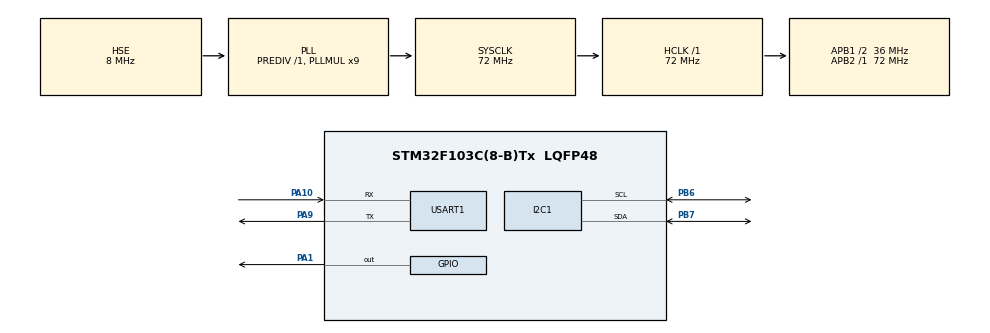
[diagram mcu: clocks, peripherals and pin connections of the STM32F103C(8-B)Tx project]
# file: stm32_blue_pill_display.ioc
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FREERTOS.Tasks01=defaultTask,24,512,StartDefaultTask,Default,NULL,Dynamic,NULL,NULL;LED_Tsk,8,512,StartTask02,Default,NULL,Dynamic,NULL,NULL
FREERTOS.configMINIMAL_STACK_SIZE=512
FREERTOS.configUSE_NEWLIB_REENTRANT=1
Mcu.Family=STM32F1
Mcu.Name=STM32F103C(8-B)Tx
Mcu.Package=LQFP48
NVIC.PriorityGroup=NVIC_PRIORITYGROUP_4
NVIC.TIM1_UP_IRQn=true\:15\:0\:false\:false\:true\:false\:false\:true\:true
NVIC.TimeBase=TIM1_UP_IRQn
NVIC.TimeBaseIP=TIM1
NVIC.USART1_IRQn=true\:5\:0\:false\:false\:true\:true\:true\:true\:true
PA1.GPIO_ModeDefaultOutputPP=GPIO_MODE_OUTPUT_OD
PA1.GPIO_PuPd=GPIO_NOPULL
PA1.Signal=GPIO_Output
PA10.Mode=Asynchronous
PA10.Signal=USART1_RX
PA13.Mode=Serial_Wire
PA13.Signal=SYS_JTMS-SWDIO
PA14.Mode=Serial_Wire
PA14.Signal=SYS_JTCK-SWCLK
PA9.Mode=Asynchronous
PA9.Signal=USART1_TX
PB6.Mode=I2C
PB6.Signal=I2C1_SCL
PB7.Mode=I2C
PB7.Signal=I2C1_SDA
PD0-OSC_IN.Mode=HSE-External-Oscillator
PD0-OSC_IN.Signal=RCC_OSC_IN
PD1-OSC_OUT.Mode=HSE-External-Oscillator
PD1-OSC_OUT.Signal=RCC_OSC_OUT
ProjectManager.HeapSize=0x200
ProjectManager.StackSize=0x400
ProjectManager.TargetToolchain=STM32CubeIDE
RCC.AHBFreq_Value=72000000
RCC.APB1CLKDivider=RCC_HCLK_DIV2
RCC.APB1Freq_Value=36000000
RCC.APB1TimFreq_Value=72000000
RCC.APB2Freq_Value=72000000
RCC.APB2TimFreq_Value=72000000
RCC.HCLKFreq_Value=72000000
RCC.PLLMUL=RCC_PLL_MUL9
RCC.PLLSourceVirtual=RCC_PLLSOURCE_HSE
RCC.SYSCLKFreq_VALUE=72000000
RCC.SYSCLKSource=RCC_SYSCLKSOURCE_PLLCLK
RCC.USBFreq_Value=72000000
TIM2.Prescaler=71
USART1.VirtualMode=VM_ASYNC
VP_FREERTOS_VS_CMSIS_V2.Mode=CMSIS_V2
VP_SYS_VS_tim1.Mode=TIM1
VP_TIM2_VS_ClockSourceINT.Mode=Internal
board=custom

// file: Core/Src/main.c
/* USER CODE BEGIN Header */
/**
  ******************************************************************************
  * @file           : main.c
  * @brief          : Main program body
  ******************************************************************************
  * @attention
  *
  * Copyright (c) 2026 STMicroelectronics.
  * All rights reserved.
  *
  * This software is licensed under terms that can be found in the LICENSE file
  * in the root directory of this software component.
  * If no LICENSE file comes with this software, it is provided AS-IS.
  *
  ******************************************************************************
  */
/* USER CODE END Header */
#include "main.h"
#include "cmsis_os.h"
#include "i2c.h"
#include "tim.h"
#include "usart.h"
#include "gpio.h"

/* USER CODE BEGIN Includes */
#include <stdio.h>
#include "i2c.h"
#include "ssd1306.h"

/* USER CODE END Includes */

void SystemClock_Config(void);
void MX_FREERTOS_Init(void);

int main(void)
{

  /* MCU Configuration--------------------------------------------------------*/

  /* Reset of all peripherals, Initializes the Flash interface and the Systick. */
  HAL_Init();

  /* Configure the system clock */
  SystemClock_Config();

  /* Initialize all configured peripherals */
  MX_GPIO_Init();
  MX_USART1_UART_Init();
  MX_I2C1_Init();
  MX_TIM2_Init();
  /* USER CODE BEGIN 2 */
  ssd1306_Init(&hi2c1);
  ssd1306_Fill(Black);
  HAL_TIM_Base_Start(&htim2);
//  ssd1306_SetCursor(10,10);
//  ssd1306_WriteString("Hello Vinit!", Font_7x10, White);
//  ssd1306_UpdateScreen(&hi2c1);
  /* USER CODE END 2 */

  /* Init scheduler */
  osKernelInitialize();  /* Call init function for freertos objects (in cmsis_os2.c) */
  MX_FREERTOS_Init();

  /* Start scheduler */
  osKernelStart();

  /* We should never get here as control is now taken by the scheduler */

  /* Infinite loop */
  while (1)
  {

  }
}

void SystemClock_Config(void)
{
  RCC_OscInitTypeDef RCC_OscInitStruct = {0};
  RCC_ClkInitTypeDef RCC_ClkInitStruct = {0};

  /** Initializes the RCC Oscillators according to the specified parameters
  * in the RCC_OscInitTypeDef structure.
  */
  RCC_OscInitStruct.OscillatorType = RCC_OSCILLATORTYPE_HSE;
  RCC_OscInitStruct.HSEState = RCC_HSE_ON;
  RCC_OscInitStruct.HSEPredivValue = RCC_HSE_PREDIV_DIV1;
  RCC_OscInitStruct.HSIState = RCC_HSI_ON;
  RCC_OscInitStruct.PLL.PLLState = RCC_PLL_ON;
  RCC_OscInitStruct.PLL.PLLSource = RCC_PLLSOURCE_HSE;
  RCC_OscInitStruct.PLL.PLLMUL = RCC_PLL_MUL9;
  if (HAL_RCC_OscConfig(&RCC_OscInitStruct) != HAL_OK)
  {
    Error_Handler();
  }

  /** Initializes the CPU, AHB and APB buses clocks
  */
  RCC_ClkInitStruct.ClockType = RCC_CLOCKTYPE_HCLK|RCC_CLOCKTYPE_SYSCLK
                              |RCC_CLOCKTYPE_PCLK1|RCC_CLOCKTYPE_PCLK2;
  RCC_ClkInitStruct.SYSCLKSource = RCC_SYSCLKSOURCE_PLLCLK;
  RCC_ClkInitStruct.AHBCLKDivider = RCC_SYSCLK_DIV1;
  RCC_ClkInitStruct.APB1CLKDivider = RCC_HCLK_DIV2;
  RCC_ClkInitStruct.APB2CLKDivider = RCC_HCLK_DIV1;

  if (HAL_RCC_ClockConfig(&RCC_ClkInitStruct, FLASH_LATENCY_2) != HAL_OK)
  {
    Error_Handler();
  }
}

void HAL_TIM_PeriodElapsedCallback(TIM_HandleTypeDef *htim)
{
  if (htim->Instance == TIM1)
  {
    HAL_IncTick();
  }
}

void Error_Handler(void)
{
  __disable_irq();
  while (1)
  {
  }
}

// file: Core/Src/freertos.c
/* USER CODE BEGIN Header */
/**
  ******************************************************************************
  * File Name          : freertos.c
  * Description        : Code for freertos applications
  ******************************************************************************
  * @attention
  *
  * Copyright (c) 2026 STMicroelectronics.
  * All rights reserved.
  *
  * This software is licensed under terms that can be found in the LICENSE file
  * in the root directory of this software component.
  * If no LICENSE file comes with this software, it is provided AS-IS.
  *
  ******************************************************************************
  */
/* USER CODE END Header */

#include "FreeRTOS.h"
#include "task.h"
#include "main.h"
#include "cmsis_os.h"

/* USER CODE BEGIN Includes */
#include "stdio.h"
#include "i2c.h"
#include "ssd1306.h"
#include "ds18b20.h"
/* USER CODE END Includes */

/* Definitions for defaultTask */
osThreadId_t defaultTaskHandle;
const osThreadAttr_t defaultTask_attributes = {
  .name = "defaultTask",
  .stack_size = 512 * 4,
  .priority = (osPriority_t) osPriorityNormal,
};
/* Definitions for LED_Tsk */
osThreadId_t LED_TskHandle;
const osThreadAttr_t LED_Tsk_attributes = {
  .name = "LED_Tsk",
  .stack_size = 512 * 4,
  .priority = (osPriority_t) osPriorityLow,
};

void StartDefaultTask(void *argument);
void StartTask02(void *argument);

void MX_FREERTOS_Init(void); /* (MISRA C 2004 rule 8.1) */

void MX_FREERTOS_Init(void) {

  /* Create the thread(s) */
  /* creation of defaultTask */
  defaultTaskHandle = osThreadNew(StartDefaultTask, NULL, &defaultTask_attributes);

  /* creation of LED_Tsk */
  LED_TskHandle = osThreadNew(StartTask02, NULL, &LED_Tsk_attributes);

}

void StartDefaultTask(void *argument)
{
  /* USER CODE BEGIN StartDefaultTask */
  /* Infinite loop */
  for(;;)
  {
	char msg[20];
	ssd1306_SetCursor(10,10);
	ssd1306_WriteString("Hello VINIT !", Font_7x10, White);
	ssd1306_UpdateScreen(&hi2c1);
	float temp = DS18B20_ReadTemp();
	sprintf(msg, "Temp: %.2f C", temp);
	ssd1306_SetCursor(10, 20);
	ssd1306_WriteString(msg, Font_7x10, White);
	ssd1306_UpdateScreen(&hi2c1);
    osDelay(100);
  }
  /* USER CODE END StartDefaultTask */
}

void StartTask02(void *argument)
{
  /* USER CODE BEGIN StartTask02 */
  /* Infinite loop */
  for(;;)
  {
	   printf("LED task running\r\n");
	   HAL_GPIO_TogglePin(GPIOC, GPIO_PIN_13);
	   osDelay(500);
  }
  /* USER CODE END StartTask02 */
}
